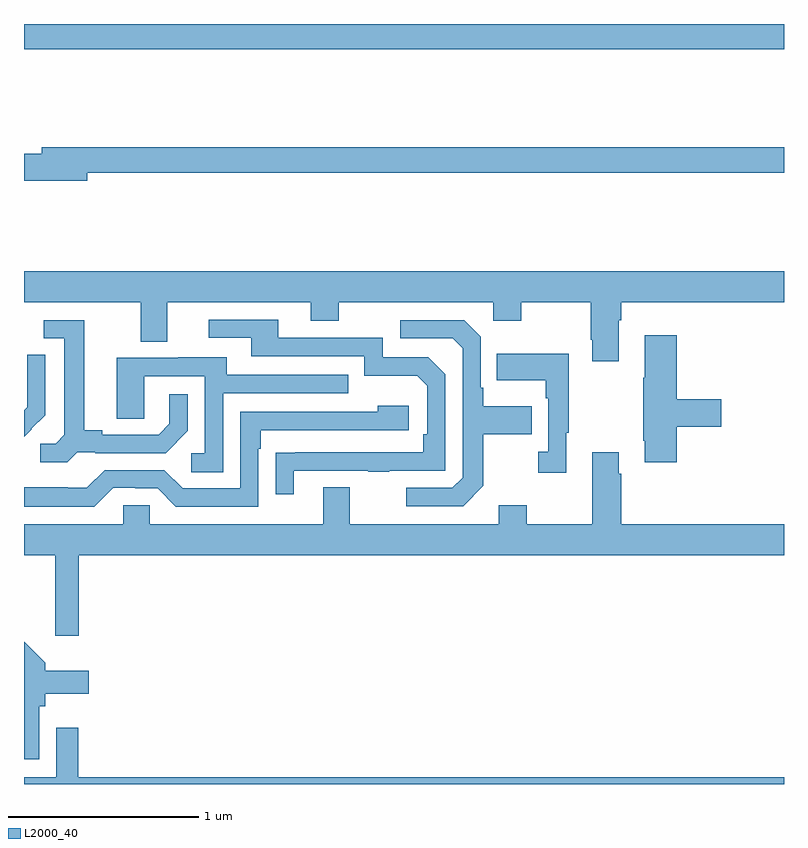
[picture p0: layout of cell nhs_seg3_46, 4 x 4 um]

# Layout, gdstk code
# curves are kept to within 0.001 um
import gdstk
lib = gdstk.Library(unit=1e-6, precision=1e-09)
def R(c, l, rs):  # rectangles x0, y0, x1, y1
    for r in rs: c.add(gdstk.rectangle(r[:2], r[2:], *l))
def P(c, l, *ps):  # polygons
    for p in ps: c.add(gdstk.Polygon(p, *l))
L2000_40 = (2000, 40)

nhs_seg3_46 = lib.new_cell('nhs_seg3_46')
R(nhs_seg3_46, L2000_40, [(113,682.268,117,682.4)])
P(nhs_seg3_46, L2000_40, [(113.332,681.616),(117,681.616),(117,681.752),(113.093,681.752),(113.093,681.716),(113,681.716),(113,681.574),(113.332,681.574)],
  [(116.131,680.84),(116.144,680.84),(116.144,680.936),(117,680.936),(117,681.1),(113,681.1),(113,680.936),(113.615,680.936),(113.615,680.728),(113.755,680.728),(113.755,680.936),(114.509,680.936),(114.509,680.837),(114.657,680.837),(114.657,680.936),(115.47,680.936),(115.47,680.837),(115.617,680.837),(115.617,680.936),(115.984,680.936),(115.984,680.737),(115.991,680.737),(115.991,680.625),(116.131,680.625)],
  [(114.421,680.049),(114.811,680.049),(114.811,680.044),(114.923,680.044),(114.923,680.049),(115.218,680.049),(115.218,680.556),(115.128,680.646),(114.888,680.646),(114.888,680.748),(114.337,680.748),(114.337,680.844),(113.973,680.844),(113.973,680.748),(114.197,680.748),(114.197,680.652),(114.792,680.652),(114.792,680.549),(115.069,680.549),(115.122,680.496),(115.122,680.242),(115.102,680.242),(115.102,680.145),(114.325,680.144),(114.325,679.926),(114.421,679.926)],
  [(113.28,680.145),(113.374,680.145),(113.374,680.142),(113.746,680.142),(113.862,680.258),(113.862,680.452),(113.765,680.452),(113.765,680.295),(113.708,680.238),(113.413,680.238),(113.413,680.261),(113.317,680.261),(113.317,680.841),(113.103,680.841),(113.103,680.745),(113.213,680.745),(113.213,680.237),(113.166,680.19),(113.085,680.19),(113.085,680.093),(113.228,680.093)],
  [(115.417,679.969),(115.417,680.242),(115.673,680.242),(115.673,680.389),(115.417,680.389),(115.417,680.485),(115.404,680.485),(115.404,680.754),(115.317,680.841),(114.981,680.841),(114.981,680.745),(115.257,680.745),(115.308,680.694),(115.308,680.013),(115.254,679.959),(115.011,679.959),(115.011,679.863),(115.311,679.863)],
  [(116.435,680.279),(116.671,680.279),(116.671,680.426),(116.435,680.426),(116.435,680.761),(116.267,680.761),(116.267,680.537),(116.26,680.537),(116.26,680.206),(116.267,680.206),(116.267,680.094),(116.435,680.094)],
  [(115.855,680.249),(115.867,680.249),(115.867,680.665),(115.489,680.665),(115.489,680.525),(115.746,680.525),(115.746,680.429),(115.758,680.429),(115.758,680.15),(115.707,680.15),(115.707,680.037),(115.855,680.037)],
  [(113.04,680.268),(113.039,680.269),(113.112,680.342),(113.112,680.66),(113.016,680.66),(113.016,680.506),(113.018,680.506),(113.018,680.384),(113,680.366),(113,680.228)],
  [(114.048,680.457),(114.707,680.457),(114.707,680.553),(114.067,680.553),(114.067,680.647),(113.813,680.647),(113.813,680.643),(113.489,680.643),(113.489,680.323),(113.634,680.323),(113.634,680.547),(113.952,680.547),(113.952,680.142),(113.88,680.142),(113.88,680.041),(114.048,680.041)],
  [(113.469,679.959),(113.585,679.959),(113.585,679.956),(113.703,679.956),(113.799,679.86),(114.234,679.86),(114.234,680.165),(114.247,680.165),(114.247,680.262),(115.024,680.262),(115.024,680.392),(114.863,680.392),(114.863,680.358),(114.138,680.358),(114.138,679.956),(113.835,679.956),(113.739,680.052),(113.424,680.052),(113.331,679.959),(113.231,679.959),(113.231,679.963),(113,679.963),(113,679.859),(113.369,679.859)],
  [(113.288,679.604),(117,679.604),(117,679.768),(116.144,679.768),(116.144,680.033),(116.131,680.033),(116.131,680.146),(115.991,680.146),(115.991,679.768),(115.647,679.768),(115.647,679.867),(115.499,679.867),(115.499,679.768),(114.715,679.768),(114.715,679.963),(114.575,679.963),(114.575,679.768),(113.661,679.768),(113.661,679.866),(113.523,679.866),(113.523,679.768),(113,679.768),(113,679.604),(113.165,679.604),(113.165,679.179),(113.288,679.179)],
  [(113.08,678.81),(113.111,678.81),(113.111,678.875),(113.341,678.875),(113.341,678.997),(113.111,678.997),(113.111,679.038),(113,679.149),(113,678.53),(113.08,678.53)],
  [(117,678.436),(113.285,678.436),(113.285,678.697),(113.169,678.697),(113.169,678.436),(113,678.436),(113,678.4),(117,678.4)])

lib.write_gds('nhs_seg3_46.gds')
